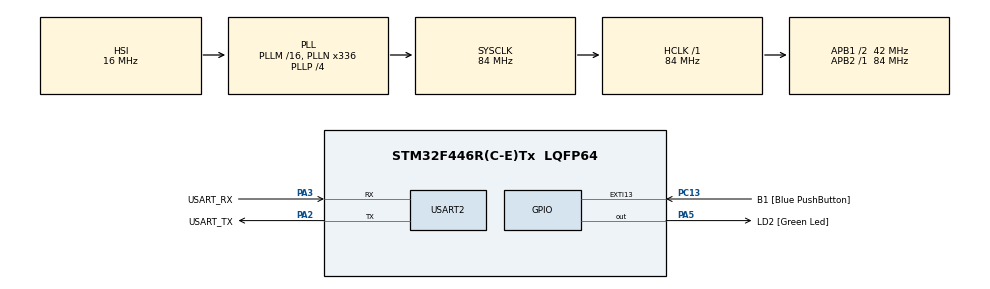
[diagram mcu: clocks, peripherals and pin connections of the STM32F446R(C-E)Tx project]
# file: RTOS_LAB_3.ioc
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FREERTOS.BinarySemaphores01=Sem,Dynamic,NULL
FREERTOS.Mutexes01=Mutex,Dynamic,NULL
FREERTOS.Tasks01=defaultTask,24,128,StartDefaultTask,Default,NULL,Dynamic,NULL,NULL;TaskA,16,128,StartTaskA,Default,NULL,Dynamic,NULL,NULL;TaskB,24,128,StartTaskB,Default,NULL,Dynamic,NULL,NULL;TaskC,32,128,StartTaskC,Default,NULL,Dynamic,NULL,NULL;PrintTask,40,2048,StartPrintTask,Default,NULL,Dynamic,NULL,NULL
FREERTOS.configENABLE_FPU=1
FREERTOS.configUSE_NEWLIB_REENTRANT=1
Mcu.Family=STM32F4
Mcu.Name=STM32F446R(C-E)Tx
Mcu.Package=LQFP64
NVIC.PriorityGroup=NVIC_PRIORITYGROUP_4
NVIC.TIM6_DAC_IRQn=true\:15\:0\:false\:false\:true\:false\:false\:true\:true
NVIC.TimeBase=TIM6_DAC_IRQn
NVIC.TimeBaseIP=TIM6
PA13.GPIO_Label=TMS
PA13.Mode=Serial_Wire
PA13.Signal=SYS_JTMS-SWDIO
PA14.GPIO_Label=TCK
PA14.Mode=Serial_Wire
PA14.Signal=SYS_JTCK-SWCLK
PA2.GPIO_Label=USART_TX
PA2.Mode=Asynchronous
PA2.Signal=USART2_TX
PA3.GPIO_Label=USART_RX
PA3.Mode=Asynchronous
PA3.Signal=USART2_RX
PA5.GPIO_Label=LD2 [Green Led]
PA5.Signal=GPIO_Output
PB3.GPIO_Label=SWO
PB3.Signal=SYS_JTDO-SWO
PC13.GPIO_Label=B1 [Blue PushButton]
PC13.GPIO_ModeDefaultEXTI=GPIO_MODE_IT_FALLING
PC13.Signal=GPXTI13
PC14-OSC32_IN.Signal=RCC_OSC32_IN
PC15-OSC32_OUT.Signal=RCC_OSC32_OUT
PH0-OSC_IN.Signal=RCC_OSC_IN
PH1-OSC_OUT.Signal=RCC_OSC_OUT
ProjectManager.HeapSize=0x200
ProjectManager.StackSize=0x400
ProjectManager.TargetToolchain=STM32CubeIDE
RCC.AHBFreq_Value=84000000
RCC.APB1CLKDivider=RCC_HCLK_DIV2
RCC.APB1Freq_Value=42000000
RCC.APB1TimFreq_Value=84000000
RCC.APB2Freq_Value=84000000
RCC.APB2TimFreq_Value=84000000
RCC.CortexFreq_Value=84000000
RCC.FLatency-AdvancedSettings=FLASH_LATENCY_2
RCC.HCLKFreq_Value=84000000
RCC.HSE_VALUE=8000000
RCC.HSI_VALUE=16000000
RCC.LSE_VALUE=32768
RCC.PLLN=336
RCC.PLLP=RCC_PLLP_DIV4
RCC.SYSCLKFreq_VALUE=84000000
RCC.SYSCLKSource=RCC_SYSCLKSOURCE_PLLCLK
RCC.USBFreq_Value=168000000
RCC.VCOOutputFreq_Value=336000000
USART2.VirtualMode=VM_ASYNC
VP_FREERTOS_VS_CMSIS_V2.Mode=CMSIS_V2
VP_SYS_VS_tim6.Mode=TIM6
board=NUCLEO-F446RE

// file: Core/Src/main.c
/* USER CODE BEGIN Header */
/**
  ******************************************************************************
  * @file           : main.c
  * @brief          : Main program body
  ******************************************************************************
  * @attention
  *
  * Copyright (c) 2023 STMicroelectronics.
  * All rights reserved.
  *
  * This software is licensed under terms that can be found in the LICENSE file
  * in the root directory of this software component.
  * If no LICENSE file comes with this software, it is provided AS-IS.
  *
  ******************************************************************************
  */
/* USER CODE END Header */
#include "main.h"
#include "cmsis_os.h"

/* USER CODE BEGIN Includes */
#include <stdlib.h>
/* USER CODE END Includes */

/* USER CODE BEGIN PTD */
typedef struct means_t{
	float meanA;
	float squareA;
	float meanB;
	float squareB;
	float meanC;
	float squareC;
	uint8_t flagA;
	uint8_t flagB;
	uint8_t flagC;
}means_t;
/* USER CODE END PTD */

UART_HandleTypeDef huart2;

/* Definitions for defaultTask */
osThreadId_t defaultTaskHandle;
const osThreadAttr_t defaultTask_attributes = {
  .name = "defaultTask",
  .stack_size = 128 * 4,
  .priority = (osPriority_t) osPriorityNormal,
};
/* Definitions for TaskA */
osThreadId_t TaskAHandle;
const osThreadAttr_t TaskA_attributes = {
  .name = "TaskA",
  .stack_size = 128 * 4,
  .priority = (osPriority_t) osPriorityBelowNormal,
};
/* Definitions for TaskB */
osThreadId_t TaskBHandle;
const osThreadAttr_t TaskB_attributes = {
  .name = "TaskB",
  .stack_size = 128 * 4,
  .priority = (osPriority_t) osPriorityNormal,
};
/* Definitions for TaskC */
osThreadId_t TaskCHandle;
const osThreadAttr_t TaskC_attributes = {
  .name = "TaskC",
  .stack_size = 128 * 4,
  .priority = (osPriority_t) osPriorityAboveNormal,
};
/* Definitions for PrintTask */
osThreadId_t PrintTaskHandle;
const osThreadAttr_t PrintTask_attributes = {
  .name = "PrintTask",
  .stack_size = 2048 * 4,
  .priority = (osPriority_t) osPriorityHigh,
};
/* Definitions for Mutex */
osMutexId_t MutexHandle;
const osMutexAttr_t Mutex_attributes = {
  .name = "Mutex"
};
/* Definitions for Sem */
osSemaphoreId_t SemHandle;
const osSemaphoreAttr_t Sem_attributes = {
  .name = "Sem"
};
/* USER CODE BEGIN PV */
means_t means;
/* USER CODE END PV */

void SystemClock_Config(void);
static void MX_GPIO_Init(void);
static void MX_USART2_UART_Init(void);
void StartDefaultTask(void *argument);
void StartTaskA(void *argument);
void StartTaskB(void *argument);
void StartTaskC(void *argument);
void StartPrintTask(void *argument);

int main(void)
{

  /* MCU Configuration--------------------------------------------------------*/

  /* Reset of all peripherals, Initializes the Flash interface and the Systick. */
  HAL_Init();

  /* Configure the system clock */
  SystemClock_Config();

  /* Initialize all configured peripherals */
  MX_GPIO_Init();
  MX_USART2_UART_Init();

  /* Init scheduler */
  osKernelInitialize();
  /* Create the mutex(es) */
  /* creation of Mutex */
  MutexHandle = osMutexNew(&Mutex_attributes);

  /* Create the semaphores(s) */
  /* creation of Sem */
  SemHandle = osSemaphoreNew(1, 1, &Sem_attributes);

  /* Create the thread(s) */
  /* creation of defaultTask */
  defaultTaskHandle = osThreadNew(StartDefaultTask, NULL, &defaultTask_attributes);

  /* creation of TaskA */
  TaskAHandle = osThreadNew(StartTaskA, NULL, &TaskA_attributes);

  /* creation of TaskB */
  TaskBHandle = osThreadNew(StartTaskB, NULL, &TaskB_attributes);

  /* creation of TaskC */
  TaskCHandle = osThreadNew(StartTaskC, NULL, &TaskC_attributes);

  /* creation of PrintTask */
  PrintTaskHandle = osThreadNew(StartPrintTask, NULL, &PrintTask_attributes);

  /* Start scheduler */
  osKernelStart();
  /* We should never get here as control is now taken by the scheduler */
  /* Infinite loop */
  while (1)
  {

  }
}

void SystemClock_Config(void)
{
  RCC_OscInitTypeDef RCC_OscInitStruct = {0};
  RCC_ClkInitTypeDef RCC_ClkInitStruct = {0};

  /** Configure the main internal regulator output voltage
  */
  __HAL_RCC_PWR_CLK_ENABLE();
  __HAL_PWR_VOLTAGESCALING_CONFIG(PWR_REGULATOR_VOLTAGE_SCALE3);

  /** Initializes the RCC Oscillators according to the specified parameters
  * in the RCC_OscInitTypeDef structure.
  */
  RCC_OscInitStruct.OscillatorType = RCC_OSCILLATORTYPE_HSI;
  RCC_OscInitStruct.HSIState = RCC_HSI_ON;
  RCC_OscInitStruct.HSICalibrationValue = RCC_HSICALIBRATION_DEFAULT;
  RCC_OscInitStruct.PLL.PLLState = RCC_PLL_ON;
  RCC_OscInitStruct.PLL.PLLSource = RCC_PLLSOURCE_HSI;
  RCC_OscInitStruct.PLL.PLLM = 16;
  RCC_OscInitStruct.PLL.PLLN = 336;
  RCC_OscInitStruct.PLL.PLLP = RCC_PLLP_DIV4;
  RCC_OscInitStruct.PLL.PLLQ = 2;
  RCC_OscInitStruct.PLL.PLLR = 2;
  if (HAL_RCC_OscConfig(&RCC_OscInitStruct) != HAL_OK)
  {
    Error_Handler();
  }

  /** Initializes the CPU, AHB and APB buses clocks
  */
  RCC_ClkInitStruct.ClockType = RCC_CLOCKTYPE_HCLK|RCC_CLOCKTYPE_SYSCLK
                              |RCC_CLOCKTYPE_PCLK1|RCC_CLOCKTYPE_PCLK2;
  RCC_ClkInitStruct.SYSCLKSource = RCC_SYSCLKSOURCE_PLLCLK;
  RCC_ClkInitStruct.AHBCLKDivider = RCC_SYSCLK_DIV1;
  RCC_ClkInitStruct.APB1CLKDivider = RCC_HCLK_DIV2;
  RCC_ClkInitStruct.APB2CLKDivider = RCC_HCLK_DIV1;

  if (HAL_RCC_ClockConfig(&RCC_ClkInitStruct, FLASH_LATENCY_2) != HAL_OK)
  {
    Error_Handler();
  }
}

static void MX_USART2_UART_Init(void)
{

  huart2.Instance = USART2;
  huart2.Init.BaudRate = 115200;
  huart2.Init.WordLength = UART_WORDLENGTH_8B;
  huart2.Init.StopBits = UART_STOPBITS_1;
  huart2.Init.Parity = UART_PARITY_NONE;
  huart2.Init.Mode = UART_MODE_TX_RX;
  huart2.Init.HwFlowCtl = UART_HWCONTROL_NONE;
  huart2.Init.OverSampling = UART_OVERSAMPLING_16;
  if (HAL_UART_Init(&huart2) != HAL_OK)
  {
    Error_Handler();
  }

}

static void MX_GPIO_Init(void)
{
  GPIO_InitTypeDef GPIO_InitStruct = {0};

  /* GPIO Ports Clock Enable */
  __HAL_RCC_GPIOC_CLK_ENABLE();
  __HAL_RCC_GPIOH_CLK_ENABLE();
  __HAL_RCC_GPIOA_CLK_ENABLE();
  __HAL_RCC_GPIOB_CLK_ENABLE();

  /*Configure GPIO pin Output Level */
  HAL_GPIO_WritePin(LD2_GPIO_Port, LD2_Pin, GPIO_PIN_RESET);

  /*Configure GPIO pin : B1_Pin */
  GPIO_InitStruct.Pin = B1_Pin;
  GPIO_InitStruct.Mode = GPIO_MODE_IT_FALLING;
  GPIO_InitStruct.Pull = GPIO_NOPULL;
  HAL_GPIO_Init(B1_GPIO_Port, &GPIO_InitStruct);

  /*Configure GPIO pin : LD2_Pin */
  GPIO_InitStruct.Pin = LD2_Pin;
  GPIO_InitStruct.Mode = GPIO_MODE_OUTPUT_PP;
  GPIO_InitStruct.Pull = GPIO_NOPULL;
  GPIO_InitStruct.Speed = GPIO_SPEED_FREQ_LOW;
  HAL_GPIO_Init(LD2_GPIO_Port, &GPIO_InitStruct);

}

void StartDefaultTask(void *argument)
{
  for(;;)
  {
    osDelay(1);
  }
}

void StartTaskA(void *argument)
{
  /* USER CODE BEGIN StartTaskA */
	float mean;
	float square;
	float random;
	srand(osKernelSysTick());
	means.flagA = 0;
  /* Infinite loop */
  for(;;)
  {
	  if(!means.flagA)
	  {
		  osSemaphoreAcquire(SemHandle, osWaitForever);
//		  osMutexAcquire(MutexHandle, osWaitForever);

		  mean = 0;
		  square = 0;

		  for ( uint16_t i = 0; i < 1000; i++)
		  {
			  random = (float)rand() / (float)RAND_MAX * 2 - 1;
			  mean += random;
			  square += random * random;
		  }

		  means.meanA = mean / 1000;
		  means.squareA = sqrt( square / 1000 );
		  means.flagA = 1;

		  osSemaphoreRelease(SemHandle);
//		  osMutexRelease(MutexHandle);
	  }
    osDelay(1);
  }
  /* USER CODE END StartTaskA */
}

void StartTaskB(void *argument)
{
  /* USER CODE BEGIN StartTaskB */
	float mean;
	float square;
	float random;
	srand(osKernelSysTick());
	means.flagB = 0;
  /* Infinite loop */
  for(;;)
  {
	  if(!means.flagB)
	  {
		  osSemaphoreAcquire(SemHandle, osWaitForever);
//		  osMutexAcquire(MutexHandle, osWaitForever);

		  mean = 0;
		  square = 0;

		  for ( uint16_t i = 0; i < 1000; i++)
		  {
			  random = (float)rand() / (float)RAND_MAX * 2 - 1;
			  mean += random;
			  square += random * random;
		  }

		  means.meanB = mean / 1000;
		  means.squareB = sqrt( square / 1000 );
		  means.flagB = 1;

		  osSemaphoreRelease(SemHandle);
//		  osMutexRelease(MutexHandle);
	  }
    osDelay(1);
  }
  /* USER CODE END StartTaskB */
}

void StartTaskC(void *argument)
{
  /* USER CODE BEGIN StartTaskC */
	float mean;
	float square;
	float random;
	srand(osKernelSysTick());
	means.flagC = 0;
  /* Infinite loop */
  for(;;)
  {
	  if(!means.flagC)
	  {
		  osSemaphoreAcquire(SemHandle, osWaitForever);
//		  osMutexAcquire(MutexHandle, osWaitForever);

		  mean = 0;
		  square = 0;

		  for ( uint16_t i = 0; i < 1000; i++)
		  {
			  random = (float)rand() / (float)RAND_MAX * 2 - 1;
			  mean += random;
			  square += random * random;
		  }

		  means.meanC = mean / 1000;
		  means.squareC = sqrt( square / 1000 );
		  means.flagC = 1;

		  osSemaphoreRelease(SemHandle);
//		  osMutexRelease(MutexHandle);
	  }
    osDelay(1);
  }
  /* USER CODE END StartTaskC */
}

void StartPrintTask(void *argument)
{
  /* USER CODE BEGIN StartPrintTask */
	float mean;
	float square;
	char message[64];
  /* Infinite loop */
  for(;;)
  {

	  if ( means.flagA && means.flagB && means.flagC )
	  {
		  osSemaphoreAcquire(SemHandle, osWaitForever);
//		  osMutexAcquire(MutexHandle, osWaitForever);

		  mean = means.meanA;
		  mean += means.meanB;
		  mean += means.meanC;
		  mean /= 3;

		  square = means.squareA * means.squareA;
		  square += means.squareB * means.squareB;
		  square += means.squareC * means.squareC;
		  square = sqrt( square / 3 );

		  sprintf ( message, "Mean of means = %f and Mean of square means = %f", mean, square);
		  HAL_UART_Transmit(&huart2, message, strlen(message), HAL_MAX_DELAY);
		  HAL_UART_Transmit(&huart2, "\n", strlen("\n"), HAL_MAX_DELAY);

		  //10ms delay for 64 characters
		  osDelay(640);

		  means.flagA = 0;
		  means.flagB = 0;
		  means.flagC = 0;

		  osSemaphoreRelease(SemHandle);
//		  osMutexRelease(MutexHandle);
	  }
	  //1000 - 640
    osDelay(360);
  }
  /* USER CODE END StartPrintTask */
}

void HAL_TIM_PeriodElapsedCallback(TIM_HandleTypeDef *htim)
{
  if (htim->Instance == TIM6) {
    HAL_IncTick();
  }
}

void Error_Handler(void)
{
  __disable_irq();
  while (1)
  {
  }
}
